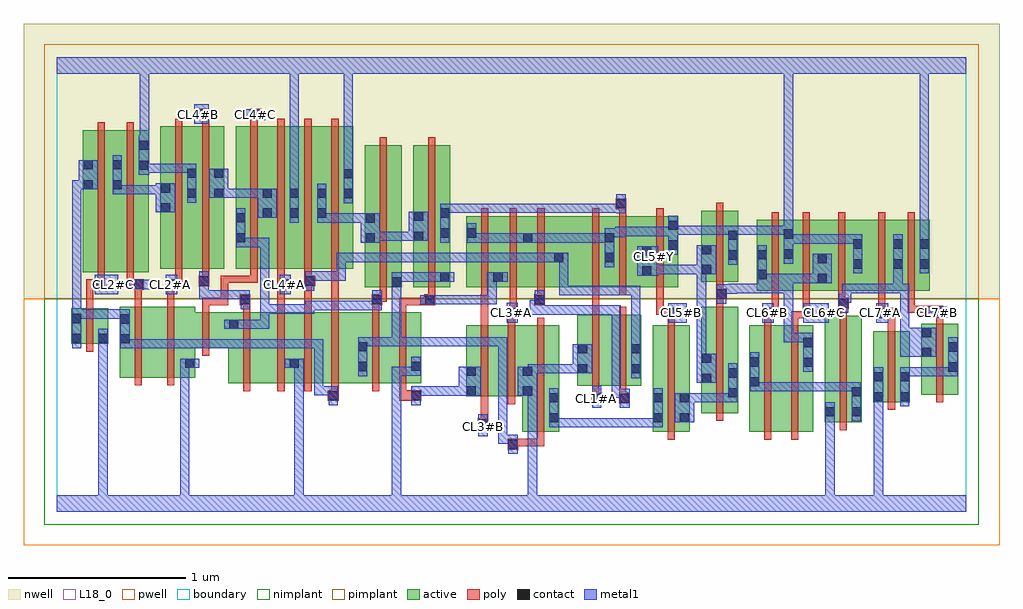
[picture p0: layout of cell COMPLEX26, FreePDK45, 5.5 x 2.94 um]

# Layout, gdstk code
import gdstk
lib = gdstk.Library(unit=1e-6, precision=1e-09)
def R(c, l, rs):  # rectangles x0, y0, x1, y1
    for r in rs: c.add(gdstk.rectangle(r[:2], r[2:], *l))
def A(c, l, x, y, w, h, nx, ny, dx, dy):  # array of equal rectangles
    R(c, l, [(x+i*dx, y+j*dy, x+i*dx+w, y+j*dy+h) for i in range(nx) for j in range(ny)])
active = (1, 0)
pwell = (2, 0)
nwell = (3, 0)
nimplant = (4, 0)
pimplant = (5, 0)
poly = (9, 0)
contact = (10, 0)
metal1 = (11, 0)
L18_0 = (18, 0)
boundary = (235, 0)

complex26 = lib.new_cell('COMPLEX26')
R(complex26, active, [(2.62,0.45,2.828,1.05), (3.356,0.45,3.416,1.05), (3.356,0.45,3.564,1.05), (3.504,0.45,3.564,1.05), (3.9,0.45,3.96,1.05), (3.9,0.45,4.08,1.05), (4.08,0.45,4.26,1.05), (2.62,0.5,2.68,1.05), (2.768,0.5,2.828,1.05), (4.324,0.504,4.532,1.104), (4.324,0.504,4.384,0.674), (4.472,0.504,4.532,1.104), (3.628,0.556,3.688,1.156), (3.628,0.556,3.836,1.156), (3.776,0.556,3.836,1.156), (4.2,0.556,4.26,1.05), (4.596,0.618,4.656,1.018), (4.596,0.618,4.804,1.018), (4.744,0.618,4.804,1.018), (2.304,0.65,2.364,1.05), (2.304,0.65,2.484,1.05), (2.484,0.65,2.68,1.05), (4.868,0.66,4.928,1.06), (4.868,0.66,5.076,1.06), (5.016,0.66,5.076,1.06), (2.93,0.71,2.99,1.11), (2.93,0.71,3.11,1.11), (3.11,0.71,3.29,1.11), (3.23,0.71,3.29,1.11), (0.966,0.724,1.026,1.124), (0.966,0.724,1.146,1.124), (1.146,0.724,1.366,1.124), (1.306,0.724,1.366,1.124), (1.306,0.724,1.49,1.124), (1.49,0.724,1.752,1.124), (1.692,0.724,1.872,1.124), (1.692,0.724,1.752,0.96), (1.872,0.724,2.052,1.124), (1.992,0.724,2.052,1.124), (0.354,0.756,0.414,1.156), (0.354,0.756,0.534,1.156), (0.534,0.756,0.778,1.156), (0.718,0.756,0.778,0.924), (0.718,0.924,1.026,1.124), (0.082,0.946,0.142,1.146), (0.082,0.946,0.29,1.146), (0.23,0.946,0.29,1.146), (3.942,1.244,4.002,1.644), (3.942,1.244,4.15,1.644), (4.09,1.244,4.15,1.644), (4.09,1.244,4.34,1.644), (4.28,1.244,4.34,1.644), (4.28,1.244,4.54,1.644), (4.48,1.244,4.54,1.644), (4.48,1.244,4.766,1.644), (4.706,1.244,4.766,1.644), (4.706,1.244,4.914,1.644), (4.854,1.244,4.914,1.644), (1.734,1.264,1.794,2.044), (1.734,1.264,1.942,2.064), (1.882,1.264,1.942,2.044), (2.006,1.264,2.214,2.064), (2.154,1.264,2.214,2.044), (2.306,1.264,2.514,1.664), (2.454,1.264,2.514,1.644), (2.454,1.264,2.682,1.664), (2.622,1.264,2.682,1.644), (2.622,1.264,2.856,1.664), (2.796,1.264,2.856,1.644), (2.796,1.264,3.142,1.664), (3.082,1.264,3.142,1.664), (3.082,1.264,3.352,1.664), (3.292,1.264,3.5,1.664), (3.292,1.264,3.352,1.644), (3.44,1.264,3.5,1.664), (3.628,1.296,3.688,1.696), (3.628,1.296,3.836,1.696), (3.776,1.296,3.836,1.696), (0.146,1.35,0.37,2.15), (0.146,1.35,0.206,2.096), (0.31,1.35,0.518,2.15), (0.458,1.35,0.518,2.15), (0.582,1.37,0.79,2.17), (0.582,1.37,0.642,2.044), (0.73,1.37,0.942,2.17), (0.73,1.37,0.79,2.17), (0.882,1.37,0.942,2.044), (1.006,1.37,1.214,2.17), (1.006,1.37,1.066,2.044), (1.154,1.37,1.214,2.044), (1.154,1.37,1.366,2.17), (1.306,1.37,1.366,2.044), (1.306,1.37,1.522,2.17), (1.462,1.37,1.67,2.17), (1.462,1.37,1.522,2.044), (1.61,1.37,1.67,2.044), (2.006,1.452,2.066,2.044), (2.306,1.452,2.366,1.644), (0.31,1.476,0.37,2.096)])
R(complex26, pwell, [(-0.188,-0.188,5.308,1.2)])
R(complex26, nwell, [(-0.188,1.2,5.308,2.748)])
R(complex26, nimplant, [(-0.072,-0.072,5.192,1.2)])
R(complex26, pimplant, [(-0.072,1.2,5.192,2.632)])
A(complex26, poly, 1.242, 0.68, 0.04, 0.488, 3, 1, 0.152, 0)
A(complex26, poly, 1.09, 1.326, 0.04, 0.888, 4, 1, 0.152, 0)
R(complex26, poly, [(2.538,0.35,2.598,0.41), (2.558,0.37,2.744,0.41), (2.704,0.37,2.744,0.41), (2.704,0.37,2.744,0.41), (2.704,0.37,2.744,0.41), (2.704,0.37,2.744,0.446), (2.704,0.406,2.744,1.094), (3.44,0.406,3.48,1.094), (3.984,0.406,4.024,1.094), (4.136,0.406,4.176,1.094), (4.408,0.46,4.448,1.148), (2.37,0.466,2.43,0.526), (2.388,0.486,2.428,0.646), (3.712,0.512,3.752,1.2), (4.68,0.574,4.72,1.062), (2.388,0.606,2.428,1.094), (2.54,0.606,2.58,1.094), (3.01,0.61,3.07,0.67), (3.166,0.61,3.226,0.67), (4.952,0.616,4.992,1.104), (1.526,0.624,1.586,0.684), (1.928,0.624,2.052,0.684), (3.014,0.63,3.054,0.706), (3.166,0.63,3.206,0.706), (1.546,0.644,1.586,0.72), (1.928,0.644,1.968,0.72), (3.014,0.666,3.054,1.154), (3.166,0.666,3.206,1.154), (1.05,0.68,1.09,1.168), (1.776,0.68,1.816,1.168), (1.928,0.68,1.968,1.168), (0.438,0.712,0.478,1.2), (0.622,0.712,0.662,1.2), (0.818,0.88,0.858,1.168), (0.166,0.902,0.206,1.19), (4.68,1.022,4.72,1.13), (2.388,1.054,2.428,1.224), (2.54,1.054,2.58,1.13), (3.44,1.054,3.48,1.13), (3.984,1.054,4.024,1.13), (4.136,1.054,4.176,1.13), (4.952,1.064,4.992,1.14), (2.53,1.09,2.59,1.15), (2.54,1.09,2.58,1.13), (2.54,1.09,2.58,1.13), (3.44,1.09,3.5,1.15), (3.98,1.09,4.04,1.15), (4.136,1.09,4.24,1.13), (4.2,1.09,4.24,1.13), (4.2,1.09,4.26,1.15), (4.626,1.09,4.72,1.15), (4.93,1.1,4.992,1.16), (4.408,1.108,4.448,1.184), (2.55,1.11,2.59,1.26), (3.376,1.11,3.48,1.15), (3.376,1.11,3.416,1.26), (3.44,1.11,3.48,1.15), (4,1.11,4.04,1.15), (4,1.11,4.066,1.15), (4.026,1.11,4.066,1.24), (4.2,1.11,4.24,1.24), (4.626,1.11,4.666,1.15), (4.626,1.11,4.666,1.15), (4.626,1.11,4.666,1.24), (3.014,1.114,3.054,1.224), (4.79,1.12,4.83,1.24), (4.79,1.12,4.97,1.16), (4.93,1.12,4.97,1.16), (0.818,1.128,0.858,1.204), (1.05,1.128,1.09,1.204), (1.242,1.128,1.282,1.29), (1.394,1.128,1.434,1.31), (1.546,1.128,1.586,1.33), (1.776,1.128,1.816,1.204), (1.928,1.128,1.968,1.204), (4.4,1.144,4.46,1.204), (4.408,1.144,4.448,1.184), (4.408,1.144,4.448,1.184), (0.166,1.15,0.206,1.29), (0.438,1.16,0.478,1.29), (0.622,1.16,0.662,1.29), (3.712,1.16,3.752,1.236), (0.818,1.164,0.858,1.204), (0.818,1.164,0.964,1.204), (0.924,1.164,0.964,1.204), (0.924,1.164,0.964,1.204), (0.924,1.164,0.964,1.204), (0.924,1.164,0.964,1.33), (1.03,1.164,1.09,1.224), (1.772,1.164,1.832,1.224), (1.928,1.164,2.11,1.204), (2.07,1.164,2.11,1.204), (2.07,1.164,2.13,1.224), (2.688,1.164,2.748,1.224), (4.4,1.164,4.44,1.24), (1.792,1.184,1.832,1.224), (1.792,1.184,1.858,1.224), (1.818,1.184,1.858,1.26), (2.09,1.184,2.13,1.26), (2.388,1.184,2.43,1.224), (2.39,1.184,2.43,1.224), (2.39,1.184,2.43,1.224), (2.39,1.184,2.43,1.26), (2.706,1.184,2.746,1.26), (3.014,1.184,3.054,1.224), (3.014,1.184,3.054,1.224), (3.014,1.184,3.054,1.224), (3.014,1.184,3.054,1.26), (3.712,1.196,3.752,1.236), (3.712,1.196,3.752,1.236), (3.712,1.196,3.772,1.256), (4.026,1.2,4.066,1.688), (4.2,1.2,4.24,1.688), (4.4,1.2,4.44,1.688), (4.626,1.2,4.666,1.688), (4.79,1.2,4.83,1.688), (3.712,1.216,3.752,1.292), (1.818,1.22,1.858,2.108), (2.09,1.22,2.13,2.108), (2.39,1.22,2.43,1.708), (2.55,1.22,2.59,1.708), (2.706,1.22,2.746,1.708), (3.014,1.22,3.054,1.708), (3.166,1.22,3.206,1.708), (3.376,1.22,3.416,1.708), (0.166,1.25,0.27,1.31), (0.428,1.25,0.488,1.31), (0.622,1.25,0.682,1.31), (1.242,1.25,1.282,1.29), (1.242,1.25,1.282,1.29), (1.242,1.25,1.31,1.31), (3.712,1.252,3.752,1.74), (0.23,1.27,0.27,1.31), (0.23,1.27,0.27,1.31), (0.23,1.27,0.27,1.346), (0.394,1.27,0.434,1.346), (0.394,1.27,0.468,1.31), (0.428,1.27,0.468,1.31), (0.642,1.27,0.682,1.31), (0.642,1.27,0.706,1.31), (0.666,1.27,0.706,1.366), (0.798,1.27,0.858,1.33), (1.242,1.27,1.282,1.366), (1.394,1.27,1.434,1.31), (1.394,1.27,1.434,1.31), (1.394,1.27,1.454,1.33), (0.818,1.29,0.858,1.366), (0.924,1.29,0.964,1.33), (0.924,1.29,1.13,1.33), (1.09,1.29,1.13,1.33), (1.09,1.29,1.13,1.366), (1.394,1.29,1.434,1.366), (1.546,1.29,1.586,1.33), (1.546,1.29,1.586,1.33), (1.546,1.29,1.586,1.33), (1.546,1.29,1.586,1.366), (0.23,1.306,0.27,2.194), (0.394,1.306,0.434,2.194), (0.666,1.326,0.706,2.214), (0.818,1.326,0.858,2.214), (3.166,1.668,3.206,1.744), (3.146,1.704,3.206,1.764), (0.818,2.174,0.858,2.25), (1.09,2.174,1.13,2.25), (0.798,2.21,0.858,2.27), (1.09,2.21,1.15,2.27)])
R(complex26, contact, [(2.542,0.354,2.594,0.406), (2.374,0.47,2.426,0.522), (2.772,0.504,2.824,0.556), (3.36,0.504,3.412,0.556), (3.508,0.504,3.56,0.556), (4.328,0.538,4.38,0.59), (4.476,0.538,4.528,0.59), (3.014,0.614,3.066,0.666), (3.17,0.614,3.222,0.666), (2.772,0.616,2.824,0.668), (3.36,0.616,3.412,0.668), (3.508,0.616,3.56,0.668), (4.6,0.622,4.652,0.674), (4.748,0.622,4.8,0.674), (1.53,0.628,1.582,0.68), (1.996,0.628,2.048,0.68), (3.78,0.644,3.832,0.696), (4.476,0.65,4.528,0.702), (2.308,0.654,2.36,0.706), (2.624,0.654,2.676,0.706), (3.904,0.706,3.956,0.758), (3.632,0.726,3.684,0.778), (4.6,0.734,4.652,0.786), (4.748,0.734,4.8,0.786), (3.78,0.756,3.832,0.808), (2.308,0.766,2.36,0.818), (2.624,0.766,2.676,0.818), (2.934,0.78,2.986,0.832), (3.234,0.78,3.286,0.832), (5.02,0.79,5.072,0.842), (1.696,0.792,1.748,0.844), (1.996,0.794,2.048,0.846), (0.722,0.81,0.774,0.862), (1.31,0.81,1.362,0.862), (4.204,0.816,4.256,0.868), (3.904,0.818,3.956,0.87), (3.632,0.838,3.684,0.89), (4.872,0.872,4.924,0.924), (2.934,0.892,2.986,0.944), (3.234,0.892,3.286,0.944), (5.02,0.902,5.072,0.954), (1.696,0.904,1.748,0.956), (4.204,0.928,4.256,0.98), (0.358,0.948,0.41,1), (0.086,0.95,0.138,1.002), (0.234,0.95,0.286,1.002), (4.872,0.984,4.924,1.036), (0.97,1.03,1.022,1.082), (0.358,1.06,0.41,1.112), (0.086,1.062,0.138,1.114), (2.534,1.094,2.586,1.146), (3.444,1.094,3.496,1.146), (3.984,1.094,4.036,1.146), (4.204,1.094,4.256,1.146), (4.63,1.094,4.682,1.146), (4.934,1.104,4.986,1.156), (4.404,1.148,4.456,1.2), (1.034,1.168,1.086,1.22), (1.776,1.168,1.828,1.22), (2.074,1.168,2.126,1.22), (2.692,1.168,2.744,1.22), (3.716,1.2,3.768,1.252), (0.214,1.254,0.266,1.306), (0.432,1.254,0.484,1.306), (0.626,1.254,0.678,1.306), (1.254,1.254,1.306,1.306), (1.886,1.268,1.938,1.32), (0.802,1.274,0.854,1.326), (1.398,1.274,1.45,1.326), (4.284,1.288,4.336,1.34), (2.158,1.296,2.21,1.348), (2.458,1.296,2.51,1.348), (3.946,1.31,3.998,1.362), (3.296,1.33,3.348,1.382), (3.632,1.338,3.684,1.39), (4.484,1.37,4.536,1.422), (4.71,1.37,4.762,1.422), (4.858,1.37,4.91,1.422), (4.284,1.4,4.336,1.452), (2.8,1.406,2.852,1.458), (3.086,1.406,3.138,1.458), (3.78,1.42,3.832,1.472), (3.946,1.422,3.998,1.474), (4.094,1.426,4.146,1.478), (3.296,1.442,3.348,1.494), (3.632,1.45,3.684,1.502), (3.444,1.476,3.496,1.528), (4.484,1.482,4.536,1.534), (4.71,1.482,4.762,1.534), (4.858,1.482,4.91,1.534), (1.738,1.516,1.79,1.568), (2.626,1.516,2.678,1.568), (1.01,1.518,1.062,1.57), (3.086,1.518,3.138,1.57), (2.01,1.526,2.062,1.578), (3.78,1.532,3.832,1.584), (4.094,1.538,4.146,1.59), (2.158,1.544,2.21,1.596), (2.31,1.544,2.362,1.596), (3.444,1.588,3.496,1.64), (1.738,1.628,1.79,1.68), (1.01,1.63,1.062,1.682), (2.01,1.638,2.062,1.69), (1.158,1.656,1.21,1.708), (1.31,1.656,1.362,1.708), (1.466,1.656,1.518,1.708), (2.158,1.656,2.21,1.708), (0.586,1.686,0.638,1.738), (3.15,1.708,3.202,1.76), (1.614,1.766,1.666,1.818), (0.734,1.768,0.786,1.82), (0.886,1.768,0.938,1.82), (1.158,1.768,1.21,1.82), (1.31,1.768,1.362,1.82), (1.466,1.768,1.518,1.82), (0.586,1.798,0.638,1.85), (0.15,1.816,0.202,1.868), (0.314,1.816,0.366,1.868), (1.614,1.878,1.666,1.93), (0.734,1.88,0.786,1.932), (0.886,1.88,0.938,1.932), (0.462,1.926,0.514,1.978), (0.15,1.928,0.202,1.98), (0.314,1.928,0.366,1.98), (0.462,2.038,0.514,2.09), (0.802,2.214,0.854,2.266), (1.094,2.214,1.146,2.266)])
A(complex26, metal1, 2.904, 1.11, 0.052, 0.052, 3, 1, 0.11, 0)
R(complex26, metal1, [(0,0,5.12,0.092), (0.234,0.04,0.286,0.092), (0.234,0.04,0.286,0.092), (0.234,0.04,0.286,0.092), (0.234,0.04,0.286,0.092), (0.234,0.04,0.286,0.092), (0.234,0.04,0.286,0.092), (0.234,0.04,0.286,0.092), (0.234,0.04,0.286,0.092), (0.234,0.04,0.286,0.092), (0.234,0.04,0.286,0.092), (0.234,0.04,0.286,0.092), (0.234,0.04,0.286,0.092), (0.234,0.04,0.286,0.092), (0.234,0.04,0.286,0.092), (0.234,0.04,0.286,0.974), (0.694,0.04,0.746,0.092), (0.694,0.04,0.746,0.092), (0.694,0.04,0.746,0.092), (0.694,0.04,0.746,0.092), (0.694,0.04,0.746,0.092), (0.694,0.04,0.746,0.092), (0.694,0.04,0.746,0.092), (0.694,0.04,0.746,0.092), (0.694,0.04,0.746,0.092), (0.694,0.04,0.746,0.092), (0.694,0.04,0.746,0.862), (1.338,0.04,1.39,0.092), (1.338,0.04,1.39,0.092), (1.338,0.04,1.39,0.092), (1.338,0.04,1.39,0.092), (1.338,0.04,1.39,0.092), (1.338,0.04,1.39,0.092), (1.338,0.04,1.39,0.092), (1.338,0.04,1.39,0.092), (1.338,0.04,1.39,0.862), (1.886,0.04,1.938,0.092), (1.886,0.04,1.938,0.092), (1.886,0.04,1.938,0.092), (1.886,0.04,1.938,0.092), (1.886,0.04,1.938,0.092), (1.886,0.04,1.938,0.092), (1.886,0.04,1.938,0.092), (1.886,0.04,1.938,0.092), (1.886,0.04,1.938,0.092), (1.886,0.04,1.938,0.092), (1.886,0.04,1.938,0.092), (1.886,0.04,1.938,0.092), (1.886,0.04,1.938,0.818), (2.652,0.04,2.704,0.092), (2.652,0.04,2.704,0.092), (2.652,0.04,2.704,0.092), (2.652,0.04,2.704,0.092), (2.652,0.04,2.704,0.092), (2.652,0.04,2.704,0.092), (2.652,0.04,2.704,0.092), (2.652,0.04,2.704,0.092), (2.652,0.04,2.704,0.706), (4.328,0.04,4.38,0.092), (4.328,0.04,4.38,0.092), (4.328,0.04,4.38,0.092), (4.328,0.04,4.38,0.092), (4.328,0.04,4.38,0.562), (4.6,0.04,4.652,0.092), (4.6,0.04,4.652,0.092), (4.6,0.04,4.652,0.092), (4.6,0.04,4.652,0.092), (4.6,0.04,4.652,0.092), (4.6,0.04,4.652,0.092), (4.6,0.04,4.652,0.092), (4.6,0.04,4.652,0.092), (4.6,0.04,4.652,0.092), (4.6,0.04,4.652,0.092), (4.6,0.04,4.652,0.092), (4.6,0.04,4.652,0.092), (4.6,0.04,4.652,0.646), (2.542,0.326,2.594,0.434), (2.484,0.382,2.536,0.434), (2.484,0.382,2.536,0.434), (2.484,0.382,2.536,0.434), (2.484,0.382,2.536,0.434), (2.484,0.382,2.536,0.434), (2.484,0.382,2.536,0.434), (2.484,0.382,2.536,0.434), (2.484,0.382,2.594,0.434), (2.484,0.382,2.536,0.984), (2.374,0.426,2.426,0.55), (2.772,0.476,2.824,0.528), (2.772,0.476,2.824,0.528), (2.772,0.476,2.824,0.696), (2.772,0.476,3.066,0.528), (3.014,0.476,3.066,0.528), (3.014,0.476,3.066,0.528), (3.014,0.476,3.066,0.528), (3.014,0.476,3.196,0.528), (3.144,0.476,3.196,0.528), (3.144,0.476,3.386,0.528), (3.334,0.476,3.386,0.528), (3.334,0.476,3.412,0.528), (3.36,0.476,3.412,0.696), (3.48,0.504,3.588,0.668), (4.328,0.51,4.38,0.562), (4.328,0.51,4.38,0.562), (4.328,0.51,4.38,0.562), (4.328,0.51,4.38,0.562), (4.328,0.51,4.38,0.618), (4.476,0.51,4.528,0.73), (3.014,0.586,3.066,0.71), (3.17,0.586,3.226,0.694), (4.6,0.594,4.652,0.814), (4.748,0.594,4.8,0.814), (1.53,0.6,1.582,0.708), (1.996,0.6,2.048,0.708), (3.536,0.616,3.656,0.668), (3.604,0.616,3.656,0.668), (3.604,0.616,3.832,0.668), (3.78,0.616,3.832,0.668), (3.78,0.616,3.832,0.668), (3.78,0.616,3.832,0.836), (3.124,0.642,3.176,0.694), (3.124,0.642,3.176,0.694), (3.124,0.642,3.176,0.694), (3.124,0.642,3.176,0.694), (3.124,0.642,3.176,0.694), (3.124,0.642,3.176,0.694), (3.124,0.642,3.176,0.694), (3.124,0.642,3.222,0.694), (3.124,0.642,3.176,1.162), (1.996,0.654,2.048,0.706), (1.996,0.654,2.048,0.706), (1.996,0.654,2.316,0.706), (2.264,0.654,2.316,0.706), (2.264,0.654,2.316,0.706), (2.264,0.654,2.388,0.818), (2.596,0.654,2.704,0.818), (1.448,0.656,1.5,0.708), (1.448,0.656,1.582,0.708), (1.448,0.656,1.5,0.972), (3.904,0.678,3.956,0.73), (3.904,0.678,3.956,0.73), (3.904,0.678,3.956,0.898), (3.904,0.678,4.146,0.73), (4.094,0.678,4.146,0.73), (4.094,0.678,4.146,0.73), (4.094,0.678,4.146,0.73), (4.094,0.678,4.346,0.73), (4.294,0.678,4.346,0.73), (4.294,0.678,4.346,0.73), (4.294,0.678,4.346,0.73), (4.294,0.678,4.528,0.73), (4.476,0.678,4.528,0.73), (4.476,0.678,4.528,0.73), (3.604,0.726,3.712,0.89), (3.234,0.752,3.286,0.972), (4.748,0.762,4.8,0.814), (4.748,0.762,4.8,0.814), (4.748,0.762,5.072,0.814), (5.02,0.762,5.072,0.814), (5.02,0.762,5.072,0.814), (5.02,0.762,5.072,0.982), (1.696,0.764,1.748,0.984), (1.886,0.766,1.938,0.818), (1.886,0.766,2.048,0.818), (1.996,0.766,2.048,0.818), (1.996,0.766,2.048,0.818), (1.996,0.766,2.048,0.874), (2.652,0.766,2.704,0.832), (2.652,0.78,2.704,0.832), (2.652,0.78,2.704,0.832), (2.652,0.78,2.704,0.832), (2.652,0.78,2.956,0.832), (2.904,0.78,2.956,0.832), (2.904,0.78,2.956,0.832), (2.904,0.78,2.956,0.832), (2.904,0.78,2.956,0.832), (2.904,0.78,3.014,0.944), (4.204,0.788,4.256,1.008), (0.694,0.81,0.746,0.862), (0.694,0.81,0.746,0.862), (0.694,0.81,0.802,0.862), (1.282,0.81,1.39,0.862), (1.338,0.81,1.39,0.862), (1.338,0.81,1.39,0.862), (1.338,0.81,1.39,0.862), (1.338,0.81,1.39,0.862), (3.604,0.838,3.656,0.89), (3.604,0.838,3.656,0.89), (3.604,0.838,3.656,0.89), (3.604,0.838,3.656,0.89), (3.604,0.838,3.656,1.39), (4.748,0.872,4.952,1.036), (0.358,0.92,0.41,0.972), (0.358,0.92,0.41,0.972), (0.358,0.92,0.41,1.14), (0.358,0.92,0.556,0.972), (0.504,0.92,0.556,0.972), (0.504,0.92,0.556,0.972), (0.504,0.92,0.556,0.972), (0.504,0.92,0.666,0.972), (0.614,0.92,0.666,0.972), (0.614,0.92,0.666,0.972), (0.614,0.92,0.666,0.972), (0.614,0.92,0.666,0.972), (0.614,0.92,0.666,0.972), (0.614,0.92,0.856,0.972), (0.804,0.92,0.856,0.972), (0.804,0.92,0.856,0.972), (0.804,0.92,0.856,0.972), (0.804,0.92,1.062,0.972), (1.01,0.92,1.062,0.972), (1.01,0.92,1.172,0.972), (1.12,0.92,1.172,0.972), (1.12,0.92,1.172,0.972), (1.12,0.92,1.172,0.972), (1.12,0.92,1.306,0.972), (1.254,0.92,1.306,0.972), (1.254,0.92,1.306,0.972), (1.254,0.92,1.306,0.972), (1.254,0.92,1.306,0.972), (1.254,0.92,1.306,0.972), (1.254,0.92,1.47,0.972), (1.418,0.92,1.47,0.972), (1.418,0.92,1.5,0.972), (1.448,0.92,1.5,0.972), (1.448,0.92,1.5,0.972), (1.448,0.92,1.5,0.972), (3.234,0.92,3.286,0.972), (3.234,0.92,3.286,0.972), (3.234,0.92,3.286,0.972), (3.234,0.92,3.286,0.972), (3.234,0.92,3.286,1.272), (0.086,0.922,0.138,1.142), (0.234,0.922,0.286,0.974), (0.234,0.922,0.286,0.974), (0.234,0.922,0.286,1.03), (1.696,0.932,1.748,0.984), (1.696,0.932,1.748,0.984), (1.696,0.932,1.938,0.984), (1.886,0.932,1.938,0.984), (1.886,0.932,1.938,0.984), (1.886,0.932,1.938,0.984), (1.886,0.932,1.938,0.984), (1.886,0.932,1.938,0.984), (1.886,0.932,2.128,0.984), (1.886,0.932,1.938,1.292), (2.076,0.932,2.128,0.984), (2.076,0.932,2.128,0.984), (2.076,0.932,2.128,0.984), (2.076,0.932,2.362,0.984), (2.31,0.932,2.362,0.984), (2.31,0.932,2.362,0.984), (2.31,0.932,2.362,0.984), (2.31,0.932,2.536,0.984), (2.484,0.932,2.536,0.984), (2.484,0.932,2.536,0.984), (2.484,0.932,2.536,0.984), (2.484,0.932,2.536,0.984), (2.484,0.932,2.536,0.984), (4.094,0.956,4.146,1.008), (4.094,0.956,4.146,1.008), (4.094,0.956,4.146,1.008), (4.094,0.956,4.256,1.008), (4.094,0.956,4.146,1.284), (4.204,0.956,4.256,1.008), (4.204,0.956,4.256,1.008), (4.748,0.984,4.8,1.284), (0.942,1.03,1.05,1.082), (0.998,1.03,1.196,1.082), (1.144,1.03,1.196,1.082), (1.144,1.03,1.196,1.082), (1.144,1.03,1.196,1.082), (1.144,1.03,1.196,1.168), (2.534,1.066,2.594,1.178), (3.444,1.066,3.546,1.174), (3.972,1.066,4.036,1.174), (4.204,1.066,4.346,1.174), (4.614,1.066,4.682,1.174), (0.086,1.088,0.138,1.14), (0.086,1.088,0.138,1.14), (0.086,1.088,0.256,1.14), (0.204,1.088,0.256,1.14), (0.204,1.088,0.41,1.14), (0.086,1.09,0.138,1.868), (4.906,1.094,5.014,1.156), (2.662,1.11,2.714,1.162), (2.662,1.11,2.714,1.162), (2.662,1.11,2.714,1.162), (2.662,1.11,2.714,1.162), (2.662,1.11,2.714,1.162), (2.662,1.11,2.956,1.162), (2.662,1.11,2.714,1.192), (2.904,1.11,2.956,1.162), (2.904,1.11,2.956,1.162), (2.904,1.11,3.066,1.162), (3.014,1.11,3.176,1.162), (1.144,1.116,1.196,1.168), (1.144,1.116,1.34,1.168), (1.144,1.116,1.196,1.542), (1.288,1.116,1.34,1.168), (1.288,1.116,1.34,1.168), (1.288,1.116,1.34,1.168), (1.288,1.116,1.45,1.168), (1.398,1.116,1.45,1.188), (4.404,1.12,4.456,1.228), (1.398,1.136,1.45,1.188), (1.398,1.136,1.45,1.188), (1.398,1.136,1.638,1.188), (1.586,1.136,1.638,1.188), (1.586,1.136,1.638,1.188), (1.586,1.136,1.638,1.188), (1.586,1.136,1.828,1.188), (1.776,1.136,1.828,1.192), (1.034,1.14,1.086,1.248), (1.776,1.14,1.828,1.192), (1.776,1.14,1.828,1.248), (2.662,1.14,2.714,1.192), (2.662,1.14,2.744,1.192), (2.692,1.14,2.744,1.248), (2.046,1.168,2.154,1.22), (2.102,1.168,2.154,1.22), (2.102,1.168,2.154,1.22), (2.102,1.168,2.362,1.22), (2.31,1.168,2.362,1.22), (2.31,1.168,2.362,1.22), (2.31,1.168,2.362,1.22), (2.31,1.168,2.476,1.22), (2.424,1.168,2.476,1.22), (2.424,1.168,2.476,1.348), (3.716,1.172,3.768,1.28), (4.404,1.176,4.474,1.228), (4.422,1.176,4.474,1.284), (0.802,1.196,0.854,1.248), (0.802,1.196,0.854,1.298), (0.802,1.196,0.994,1.248), (0.942,1.196,0.994,1.248), (0.942,1.196,1.086,1.248), (2.828,1.22,2.88,1.272), (2.828,1.22,3.086,1.272), (2.828,1.22,2.88,1.458), (3.034,1.22,3.086,1.272), (3.034,1.22,3.086,1.272), (3.034,1.22,3.086,1.272), (3.034,1.22,3.196,1.272), (3.144,1.22,3.196,1.272), (3.144,1.22,3.286,1.272), (3.234,1.22,3.286,1.272), (0.214,1.226,0.346,1.334), (0.614,1.226,0.678,1.334), (1.254,1.226,1.318,1.334), (3.716,1.228,3.832,1.28), (3.78,1.228,3.832,1.284), (3.78,1.232,3.998,1.284), (3.946,1.232,3.998,1.284), (3.946,1.232,3.998,1.284), (3.946,1.232,3.998,1.284), (3.946,1.232,4.146,1.284), (3.946,1.232,3.998,1.334), (4.094,1.232,4.146,1.284), (4.422,1.232,4.652,1.284), (4.6,1.232,4.652,1.284), (4.6,1.232,4.652,1.284), (4.6,1.232,4.652,1.284), (4.6,1.232,4.762,1.284), (4.71,1.232,4.762,1.284), (4.71,1.232,4.762,1.284), (4.71,1.232,4.762,1.394), (4.71,1.232,4.792,1.284), (4.74,1.232,4.792,1.284), (4.74,1.232,4.8,1.284), (1.886,1.24,1.938,1.292), (1.886,1.24,1.938,1.292), (1.886,1.24,1.938,1.348), (0.802,1.246,0.854,1.298), (0.802,1.246,0.854,1.298), (0.802,1.246,0.854,1.354), (1.398,1.246,1.45,1.354), (0.404,1.254,0.534,1.306), (3.946,1.282,3.998,1.502), (3.946,1.288,3.998,1.34), (3.946,1.288,3.998,1.34), (3.946,1.288,4.146,1.34), (4.094,1.288,4.146,1.34), (4.094,1.288,4.146,1.34), (4.094,1.288,4.146,1.34), (4.094,1.288,4.308,1.34), (4.256,1.288,4.364,1.452), (1.886,1.296,1.938,1.348), (1.886,1.296,1.938,1.348), (1.886,1.296,2.182,1.348), (2.13,1.296,2.182,1.348), (2.13,1.296,2.182,1.348), (2.13,1.296,2.238,1.348), (2.424,1.296,2.538,1.348), (1.398,1.302,1.45,1.354), (1.398,1.302,1.45,1.354), (1.398,1.302,1.628,1.354), (1.576,1.302,1.628,1.354), (1.576,1.302,1.628,1.354), (1.576,1.302,1.628,1.354), (1.576,1.302,1.628,1.458), (3.268,1.33,3.386,1.494), (3.334,1.338,3.386,1.39), (3.334,1.338,3.386,1.39), (3.334,1.338,3.546,1.39), (3.494,1.338,3.546,1.39), (3.494,1.338,3.656,1.39), (3.604,1.338,3.656,1.39), (3.604,1.338,3.656,1.39), (3.604,1.338,3.656,1.39), (3.604,1.338,3.656,1.39), (3.604,1.338,3.656,1.39), (3.604,1.338,3.656,1.39), (3.604,1.338,3.656,1.39), (3.604,1.338,3.656,1.39), (3.604,1.338,3.712,1.502), (4.484,1.342,4.536,1.562), (4.71,1.342,4.762,1.562), (4.858,1.342,4.91,1.562), (3.086,1.378,3.138,1.598), (3.78,1.392,3.832,1.612), (4.094,1.398,4.146,1.618), (1.576,1.406,1.628,1.458), (1.576,1.406,1.748,1.458), (1.696,1.406,1.748,1.458), (1.696,1.406,1.748,1.458), (1.696,1.406,1.748,1.458), (1.696,1.406,1.748,1.458), (1.696,1.406,1.748,1.458), (1.696,1.406,1.938,1.458), (1.886,1.406,1.938,1.458), (1.886,1.406,1.938,1.458), (1.886,1.406,1.938,1.458), (1.886,1.406,2.13,1.458), (2.078,1.406,2.13,1.458), (2.078,1.406,2.13,1.458), (2.078,1.406,2.13,1.458), (2.078,1.406,2.362,1.458), (2.31,1.406,2.362,1.458), (2.31,1.406,2.362,1.458), (2.31,1.406,2.362,1.458), (2.31,1.406,2.536,1.458), (2.484,1.406,2.536,1.458), (2.484,1.406,2.536,1.458), (2.484,1.406,2.536,1.458), (2.484,1.406,2.704,1.458), (2.652,1.406,2.704,1.458), (2.652,1.406,2.704,1.458), (2.652,1.406,2.704,1.458), (2.652,1.406,2.824,1.458), (2.772,1.406,2.88,1.458), (2.828,1.406,2.88,1.458), (2.828,1.406,2.88,1.458), (3.444,1.448,3.496,1.668), (1.01,1.49,1.062,1.71), (1.01,1.49,1.196,1.542), (1.144,1.49,1.196,1.542), (1.144,1.49,1.196,1.542), (1.144,1.49,1.196,1.542), (1.144,1.49,1.196,1.542), (1.144,1.49,1.196,1.542), (4.094,1.51,4.146,1.562), (4.094,1.51,4.146,1.562), (4.094,1.51,4.346,1.562), (4.294,1.51,4.346,1.562), (4.294,1.51,4.346,1.562), (4.294,1.51,4.346,1.562), (4.294,1.51,4.536,1.562), (4.484,1.51,4.536,1.562), (4.484,1.51,4.536,1.562), (4.858,1.51,4.91,1.562), (4.858,1.51,4.91,1.562), (4.858,1.51,4.91,1.562), (4.858,1.51,4.91,1.562), (4.858,1.51,4.91,1.562), (4.858,1.51,4.91,1.562), (4.858,1.51,4.91,1.562), (4.858,1.51,4.91,1.562), (4.858,1.51,4.91,1.562), (4.858,1.51,4.91,1.562), (4.858,1.51,4.91,1.562), (4.858,1.51,4.91,1.562), (4.858,1.51,4.91,2.52), (1.71,1.516,1.818,1.68), (2.158,1.516,2.21,1.736), (2.31,1.516,2.362,1.568), (2.31,1.516,2.362,1.568), (2.31,1.516,2.362,1.624), (2.31,1.516,2.536,1.568), (2.484,1.516,2.536,1.568), (2.484,1.516,2.536,1.568), (2.484,1.516,2.536,1.568), (2.484,1.516,2.65,1.568), (2.598,1.516,2.706,1.568), (2.654,1.516,2.706,1.568), (2.654,1.516,2.706,1.568), (2.654,1.516,2.824,1.568), (2.772,1.516,2.824,1.568), (2.772,1.516,2.824,1.568), (2.772,1.516,2.824,1.568), (2.772,1.516,3.066,1.568), (3.014,1.516,3.066,1.568), (3.014,1.516,3.138,1.568), (1.766,1.526,1.818,1.578), (1.766,1.526,1.818,1.578), (1.766,1.526,1.938,1.578), (1.886,1.526,1.938,1.578), (1.886,1.526,2.034,1.578), (1.982,1.526,2.09,1.69), (3.086,1.546,3.196,1.598), (3.144,1.546,3.196,1.604), (3.144,1.552,3.306,1.604), (3.254,1.552,3.306,1.604), (3.254,1.552,3.306,1.604), (3.254,1.552,3.306,1.604), (3.254,1.552,3.496,1.604), (3.444,1.552,3.496,1.604), (3.444,1.552,3.496,1.604), (3.444,1.56,3.656,1.612), (3.604,1.56,3.656,1.612), (3.604,1.56,3.832,1.612), (3.78,1.56,3.832,1.612), (3.78,1.56,3.832,1.612), (3.78,1.56,3.942,1.612), (3.89,1.56,3.942,1.612), (3.89,1.56,3.942,1.612), (3.89,1.56,3.942,1.612), (3.89,1.56,4.146,1.612), (4.094,1.566,4.146,1.618), (4.094,1.566,4.146,1.618), (4.094,1.566,4.146,2.52), (1.31,1.628,1.362,1.848), (1.466,1.628,1.518,1.848), (1.466,1.628,1.628,1.68), (1.576,1.628,1.628,1.68), (1.576,1.628,1.628,1.68), (1.576,1.628,1.628,1.68), (1.576,1.628,1.762,1.68), (1.13,1.656,1.238,1.82), (3.15,1.68,3.202,1.788), (2.158,1.684,2.31,1.736), (2.258,1.684,2.31,1.736), (2.258,1.684,2.426,1.736), (2.374,1.684,2.426,1.736), (2.374,1.684,2.536,1.736), (2.484,1.684,2.536,1.736), (2.484,1.684,2.536,1.736), (2.484,1.684,2.536,1.736), (2.484,1.684,2.684,1.736), (2.632,1.684,2.684,1.736), (2.632,1.684,2.704,1.736), (2.652,1.684,2.704,1.736), (2.652,1.684,2.956,1.736), (2.904,1.684,2.956,1.736), (2.904,1.684,2.956,1.736), (2.904,1.684,2.956,1.736), (2.904,1.684,2.956,1.736), (2.904,1.684,2.956,1.736), (2.904,1.684,3.086,1.736), (3.034,1.684,3.086,1.736), (3.034,1.684,3.086,1.736), (3.034,1.684,3.086,1.736), (3.034,1.684,3.086,1.736), (3.034,1.684,3.086,1.736), (3.034,1.684,3.202,1.736), (0.558,1.686,0.666,1.85), (1.614,1.738,1.666,1.958), (0.734,1.74,0.786,1.96), (0.858,1.768,0.966,1.932), (0.914,1.768,0.966,1.82), (0.914,1.768,0.966,1.82), (0.914,1.768,1.182,1.82), (1.13,1.768,1.182,1.82), (1.13,1.768,1.182,1.82), (0.314,1.788,0.366,1.84), (0.314,1.788,0.366,1.84), (0.314,1.788,0.366,2.008), (0.314,1.788,0.52,1.84), (0.468,1.788,0.52,1.84), (0.468,1.788,0.61,1.84), (1.31,1.796,1.362,1.848), (1.31,1.796,1.362,1.848), (1.31,1.796,1.362,2.52), (0.086,1.816,0.146,1.868), (0.094,1.816,0.146,1.868), (0.094,1.816,0.174,1.868), (0.122,1.816,0.174,1.868), (0.122,1.816,0.23,1.98), (0.462,1.898,0.52,2.118), (1.614,1.906,1.666,2.52), (0.468,1.908,0.52,1.96), (0.468,1.908,0.52,1.96), (0.468,1.908,0.666,1.96), (0.614,1.908,0.666,1.96), (0.614,1.908,0.786,1.96), (0.468,2.066,0.52,2.118), (0.468,2.066,0.52,2.118), (0.468,2.066,0.52,2.118), (0.468,2.066,0.52,2.118), (0.468,2.066,0.52,2.118), (0.468,2.066,0.52,2.118), (0.468,2.066,0.52,2.118), (0.468,2.066,0.52,2.118), (0.468,2.066,0.52,2.52), (0.774,2.186,0.854,2.294), (1.066,2.204,1.174,2.266), (0,2.468,5.12,2.56), (1.31,2.468,1.362,2.52), (1.31,2.468,1.362,2.52), (1.31,2.468,1.362,2.52), (1.31,2.468,1.362,2.52), (1.31,2.468,1.362,2.52), (1.31,2.468,1.362,2.52), (1.614,2.468,1.666,2.52), (1.614,2.468,1.666,2.52), (1.614,2.468,1.666,2.52), (1.614,2.468,1.666,2.52), (1.614,2.468,1.666,2.52), (1.614,2.468,1.666,2.52), (1.614,2.468,1.666,2.52), (1.614,2.468,1.666,2.52), (4.094,2.468,4.146,2.52), (4.094,2.468,4.146,2.52), (4.094,2.468,4.146,2.52), (4.094,2.468,4.146,2.52), (4.094,2.468,4.146,2.52), (4.094,2.468,4.146,2.52), (4.094,2.468,4.146,2.52), (4.094,2.468,4.146,2.52), (4.094,2.468,4.146,2.52), (4.094,2.468,4.146,2.52), (4.094,2.468,4.146,2.52), (4.094,2.468,4.146,2.52), (4.094,2.468,4.146,2.52), (4.094,2.468,4.146,2.52), (4.858,2.468,4.91,2.52), (4.858,2.468,4.91,2.52), (4.858,2.468,4.91,2.52), (4.858,2.468,4.91,2.52)])
A(complex26, L18_0, 3.974, 1.094, 0.052, 0.052, 4, 1, 0.32, 0)
A(complex26, L18_0, 2.904, 1.11, 0.052, 0.052, 3, 1, 0.11, 0)
A(complex26, L18_0, 0.294, 1.254, 0.052, 0.052, 3, 1, 0.16, 0)
R(complex26, L18_0, [(0,0,5.12,0.092), (0.234,0.04,0.286,0.092), (0.234,0.04,0.286,0.092), (0.234,0.04,0.286,0.092), (0.234,0.04,0.286,0.092), (0.234,0.04,0.286,0.092), (0.234,0.04,0.286,0.092), (0.234,0.04,0.286,0.092), (0.234,0.04,0.286,0.092), (0.234,0.04,0.286,0.092), (0.234,0.04,0.286,0.092), (0.234,0.04,0.286,0.092), (0.234,0.04,0.286,0.092), (0.234,0.04,0.286,0.092), (0.234,0.04,0.286,0.092), (0.234,0.04,0.286,0.974), (0.694,0.04,0.746,0.092), (0.694,0.04,0.746,0.092), (0.694,0.04,0.746,0.092), (0.694,0.04,0.746,0.092), (0.694,0.04,0.746,0.092), (0.694,0.04,0.746,0.092), (0.694,0.04,0.746,0.092), (0.694,0.04,0.746,0.092), (0.694,0.04,0.746,0.092), (0.694,0.04,0.746,0.092), (0.694,0.04,0.746,0.862), (1.338,0.04,1.39,0.092), (1.338,0.04,1.39,0.092), (1.338,0.04,1.39,0.092), (1.338,0.04,1.39,0.092), (1.338,0.04,1.39,0.092), (1.338,0.04,1.39,0.092), (1.338,0.04,1.39,0.092), (1.338,0.04,1.39,0.092), (1.338,0.04,1.39,0.862), (1.886,0.04,1.938,0.092), (1.886,0.04,1.938,0.092), (1.886,0.04,1.938,0.092), (1.886,0.04,1.938,0.092), (1.886,0.04,1.938,0.092), (1.886,0.04,1.938,0.092), (1.886,0.04,1.938,0.092), (1.886,0.04,1.938,0.092), (1.886,0.04,1.938,0.092), (1.886,0.04,1.938,0.092), (1.886,0.04,1.938,0.092), (1.886,0.04,1.938,0.092), (1.886,0.04,1.938,0.818), (2.652,0.04,2.704,0.092), (2.652,0.04,2.704,0.092), (2.652,0.04,2.704,0.092), (2.652,0.04,2.704,0.092), (2.652,0.04,2.704,0.092), (2.652,0.04,2.704,0.092), (2.652,0.04,2.704,0.092), (2.652,0.04,2.704,0.092), (2.652,0.04,2.704,0.706), (4.328,0.04,4.38,0.092), (4.328,0.04,4.38,0.092), (4.328,0.04,4.38,0.092), (4.328,0.04,4.38,0.092), (4.328,0.04,4.38,0.562), (4.6,0.04,4.652,0.092), (4.6,0.04,4.652,0.092), (4.6,0.04,4.652,0.092), (4.6,0.04,4.652,0.092), (4.6,0.04,4.652,0.092), (4.6,0.04,4.652,0.092), (4.6,0.04,4.652,0.092), (4.6,0.04,4.652,0.092), (4.6,0.04,4.652,0.092), (4.6,0.04,4.652,0.092), (4.6,0.04,4.652,0.092), (4.6,0.04,4.652,0.092), (4.6,0.04,4.652,0.646), (2.374,0.426,2.426,0.55), (2.374,0.454,2.426,0.506), (4.328,0.51,4.38,0.562), (4.328,0.51,4.38,0.562), (4.328,0.51,4.38,0.562), (4.328,0.51,4.38,0.562), (4.328,0.51,4.38,0.618), (3.014,0.586,3.066,0.71), (3.17,0.586,3.226,0.694), (4.6,0.594,4.652,0.814), (3.014,0.614,3.066,0.666), (3.174,0.614,3.226,0.666), (3.124,0.642,3.176,0.694), (3.124,0.642,3.176,0.694), (3.124,0.642,3.176,0.694), (3.124,0.642,3.176,0.694), (3.124,0.642,3.176,0.694), (3.124,0.642,3.176,0.694), (3.124,0.642,3.176,0.694), (3.124,0.642,3.176,1.162), (3.124,0.642,3.222,0.694), (2.596,0.654,2.704,0.818), (3.604,0.726,3.712,0.89), (1.886,0.766,1.938,0.818), (1.886,0.766,2.048,0.818), (1.996,0.766,2.048,0.818), (1.996,0.766,2.048,0.818), (1.996,0.766,2.048,0.874), (2.652,0.766,2.704,0.832), (2.652,0.78,2.704,0.832), (2.652,0.78,2.704,0.832), (2.652,0.78,2.704,0.832), (2.652,0.78,2.956,0.832), (2.904,0.78,2.956,0.832), (2.904,0.78,2.956,0.832), (2.904,0.78,2.956,0.832), (2.904,0.78,2.956,0.832), (2.904,0.78,3.014,0.944), (0.694,0.81,0.746,0.862), (0.694,0.81,0.746,0.862), (0.694,0.81,0.802,0.862), (1.282,0.81,1.39,0.862), (1.338,0.81,1.39,0.862), (1.338,0.81,1.39,0.862), (1.338,0.81,1.39,0.862), (1.338,0.81,1.39,0.862), (3.604,0.838,3.656,0.89), (3.604,0.838,3.656,0.89), (3.604,0.838,3.656,0.89), (3.604,0.838,3.656,0.89), (3.604,0.838,3.656,1.39), (0.234,0.922,0.286,0.974), (0.234,0.922,0.286,0.974), (0.234,0.922,0.286,1.03), (2.534,1.066,2.594,1.178), (3.444,1.066,3.546,1.174), (3.972,1.066,4.036,1.174), (4.204,1.066,4.346,1.174), (4.614,1.066,4.682,1.174), (2.534,1.094,2.586,1.146), (3.494,1.094,3.546,1.146), (4.906,1.094,5.014,1.156), (2.662,1.11,2.714,1.162), (2.662,1.11,2.714,1.162), (2.662,1.11,2.714,1.162), (2.662,1.11,2.714,1.162), (2.662,1.11,2.714,1.162), (2.662,1.11,2.714,1.192), (2.662,1.11,2.956,1.162), (2.904,1.11,2.956,1.162), (2.904,1.11,2.956,1.162), (2.904,1.11,3.066,1.162), (3.014,1.11,3.176,1.162), (1.034,1.14,1.086,1.248), (2.662,1.14,2.714,1.192), (2.662,1.14,2.744,1.192), (2.692,1.14,2.744,1.248), (0.802,1.196,0.854,1.248), (0.802,1.196,0.854,1.298), (0.802,1.196,0.994,1.248), (0.942,1.196,0.994,1.248), (0.942,1.196,1.086,1.248), (0.214,1.226,0.346,1.334), (0.614,1.226,0.678,1.334), (1.254,1.226,1.318,1.334), (0.802,1.246,0.854,1.298), (0.802,1.246,0.854,1.298), (0.802,1.246,0.854,1.354), (0.404,1.254,0.534,1.306), (1.254,1.254,1.306,1.306), (3.268,1.33,3.386,1.494), (3.334,1.338,3.386,1.39), (3.334,1.338,3.386,1.39), (3.334,1.338,3.546,1.39), (3.494,1.338,3.546,1.39), (3.494,1.338,3.656,1.39), (3.604,1.338,3.656,1.39), (3.604,1.338,3.656,1.39), (3.604,1.338,3.656,1.39), (3.604,1.338,3.656,1.39), (3.604,1.338,3.656,1.39), (3.604,1.338,3.656,1.39), (3.604,1.338,3.656,1.39), (3.604,1.338,3.656,1.39), (3.604,1.338,3.712,1.502), (4.484,1.342,4.536,1.562), (4.858,1.342,4.91,1.562), (3.086,1.378,3.138,1.598), (3.78,1.392,3.832,1.612), (4.094,1.398,4.146,1.618), (3.334,1.414,3.386,1.466), (3.444,1.448,3.496,1.668), (4.094,1.51,4.146,1.562), (4.094,1.51,4.146,1.562), (4.094,1.51,4.346,1.562), (4.294,1.51,4.346,1.562), (4.294,1.51,4.346,1.562), (4.294,1.51,4.346,1.562), (4.294,1.51,4.536,1.562), (4.484,1.51,4.536,1.562), (4.484,1.51,4.536,1.562), (4.858,1.51,4.91,1.562), (4.858,1.51,4.91,1.562), (4.858,1.51,4.91,1.562), (4.858,1.51,4.91,1.562), (4.858,1.51,4.91,1.562), (4.858,1.51,4.91,1.562), (4.858,1.51,4.91,1.562), (4.858,1.51,4.91,1.562), (4.858,1.51,4.91,1.562), (4.858,1.51,4.91,1.562), (4.858,1.51,4.91,1.562), (4.858,1.51,4.91,1.562), (4.858,1.51,4.91,2.52), (2.31,1.516,2.362,1.568), (2.31,1.516,2.362,1.568), (2.31,1.516,2.362,1.624), (2.31,1.516,2.536,1.568), (2.484,1.516,2.536,1.568), (2.484,1.516,2.536,1.568), (2.484,1.516,2.536,1.568), (2.484,1.516,2.65,1.568), (2.598,1.516,2.706,1.568), (2.654,1.516,2.706,1.568), (2.654,1.516,2.706,1.568), (2.654,1.516,2.824,1.568), (2.772,1.516,2.824,1.568), (2.772,1.516,2.824,1.568), (2.772,1.516,2.824,1.568), (2.772,1.516,3.066,1.568), (3.014,1.516,3.066,1.568), (3.014,1.516,3.138,1.568), (3.086,1.546,3.196,1.598), (3.144,1.546,3.196,1.604), (3.144,1.552,3.306,1.604), (3.254,1.552,3.306,1.604), (3.254,1.552,3.306,1.604), (3.254,1.552,3.306,1.604), (3.254,1.552,3.496,1.604), (3.444,1.552,3.496,1.604), (3.444,1.552,3.496,1.604), (3.444,1.56,3.656,1.612), (3.604,1.56,3.656,1.612), (3.604,1.56,3.832,1.612), (3.78,1.56,3.832,1.612), (3.78,1.56,3.832,1.612), (3.78,1.56,3.942,1.612), (3.89,1.56,3.942,1.612), (3.89,1.56,3.942,1.612), (3.89,1.56,3.942,1.612), (3.89,1.56,4.146,1.612), (4.094,1.566,4.146,1.618), (4.094,1.566,4.146,1.618), (4.094,1.566,4.146,2.52), (1.31,1.628,1.362,1.848), (1.614,1.738,1.666,1.958), (0.734,1.74,0.786,1.96), (1.31,1.796,1.362,1.848), (1.31,1.796,1.362,1.848), (1.31,1.796,1.362,2.52), (0.462,1.898,0.52,2.118), (1.614,1.906,1.666,2.52), (0.468,1.908,0.52,1.96), (0.468,1.908,0.52,1.96), (0.468,1.908,0.666,1.96), (0.614,1.908,0.666,1.96), (0.614,1.908,0.786,1.96), (0.468,2.066,0.52,2.118), (0.468,2.066,0.52,2.118), (0.468,2.066,0.52,2.118), (0.468,2.066,0.52,2.118), (0.468,2.066,0.52,2.118), (0.468,2.066,0.52,2.118), (0.468,2.066,0.52,2.118), (0.468,2.066,0.52,2.118), (0.468,2.066,0.52,2.52), (0.774,2.186,0.854,2.294), (1.066,2.204,1.174,2.266), (0.774,2.214,0.826,2.266), (1.094,2.214,1.146,2.266), (0,2.468,5.12,2.56), (1.31,2.468,1.362,2.52), (1.31,2.468,1.362,2.52), (1.31,2.468,1.362,2.52), (1.31,2.468,1.362,2.52), (1.31,2.468,1.362,2.52), (1.31,2.468,1.362,2.52), (1.614,2.468,1.666,2.52), (1.614,2.468,1.666,2.52), (1.614,2.468,1.666,2.52), (1.614,2.468,1.666,2.52), (1.614,2.468,1.666,2.52), (1.614,2.468,1.666,2.52), (1.614,2.468,1.666,2.52), (1.614,2.468,1.666,2.52), (4.094,2.468,4.146,2.52), (4.094,2.468,4.146,2.52), (4.094,2.468,4.146,2.52), (4.094,2.468,4.146,2.52), (4.094,2.468,4.146,2.52), (4.094,2.468,4.146,2.52), (4.094,2.468,4.146,2.52), (4.094,2.468,4.146,2.52), (4.094,2.468,4.146,2.52), (4.094,2.468,4.146,2.52), (4.094,2.468,4.146,2.52), (4.094,2.468,4.146,2.52), (4.094,2.468,4.146,2.52), (4.094,2.468,4.146,2.52), (4.858,2.468,4.91,2.52), (4.858,2.468,4.91,2.52), (4.858,2.468,4.91,2.52), (4.858,2.468,4.91,2.52)])
R(complex26, boundary, [(0,0,5.12,2.56)])
complex26.add(gdstk.Label('CL1#A', (3.04,0.64), layer=11, texttype=0))
complex26.add(gdstk.Label('CL1#B', (3.2,0.64), layer=11, texttype=0))
complex26.add(gdstk.Label('CL2#A', (0.64,1.28), layer=11, texttype=0))
complex26.add(gdstk.Label('CL2#B', (0.48,1.28), layer=11, texttype=0))
complex26.add(gdstk.Label('CL2#C', (0.32,1.28), layer=11, texttype=0))
complex26.add(gdstk.Label('CL3#A', (2.56,1.12), layer=11, texttype=0))
complex26.add(gdstk.Label('CL3#B', (2.4,0.48), layer=11, texttype=0))
complex26.add(gdstk.Label('CL4#A', (1.28,1.28), layer=11, texttype=0))
complex26.add(gdstk.Label('CL4#B', (0.8,2.24), layer=11, texttype=0))
complex26.add(gdstk.Label('CL4#C', (1.12,2.24), layer=11, texttype=0))
complex26.add(gdstk.Label('CL5#B', (3.52,1.12), layer=11, texttype=0))
complex26.add(gdstk.Label('CL5#Y', (3.36,1.44), layer=11, texttype=0))
complex26.add(gdstk.Label('CL6#B', (4,1.12), layer=11, texttype=0))
complex26.add(gdstk.Label('CL6#C', (4.32,1.12), layer=11, texttype=0))
complex26.add(gdstk.Label('CL7#A', (4.64,1.12), layer=11, texttype=0))
complex26.add(gdstk.Label('CL7#B', (4.96,1.12), layer=11, texttype=0))

lib.write_gds('COMPLEX26.gds')
